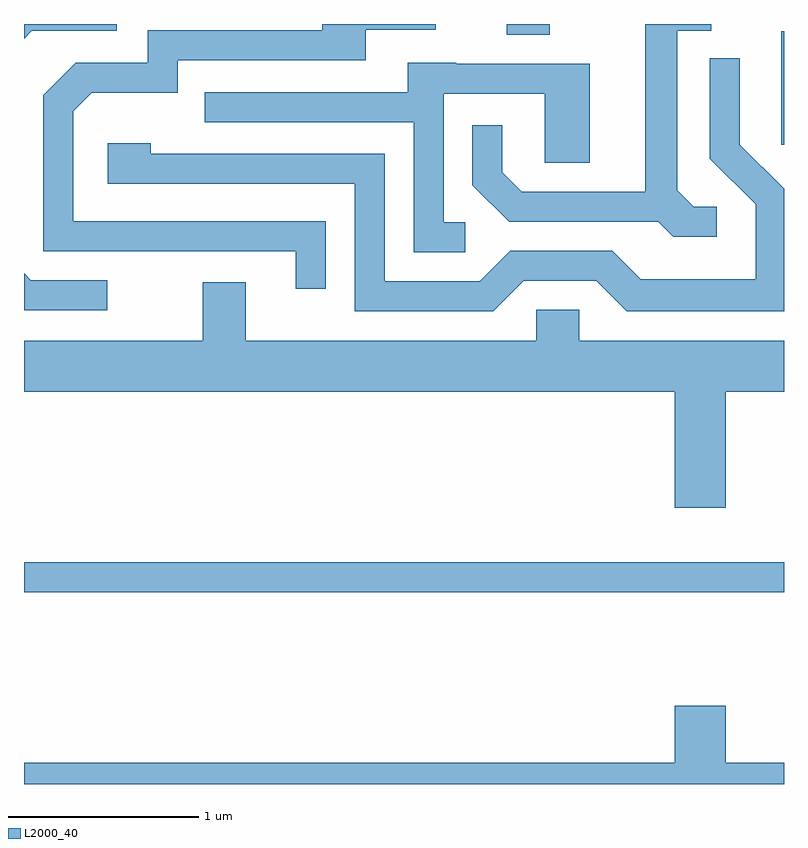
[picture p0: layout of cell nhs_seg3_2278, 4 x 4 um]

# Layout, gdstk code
import gdstk
lib = gdstk.Library(unit=1e-6, precision=1e-09)
def R(c, l, rs):  # rectangles x0, y0, x1, y1
    for r in rs: c.add(gdstk.rectangle(r[:2], r[2:], *l))
def P(c, l, *ps):  # polygons
    for p in ps: c.add(gdstk.Polygon(p, *l))
L2000_40 = (2000, 40)

nhs_seg3_2278 = lib.new_cell('nhs_seg3_2278')
R(nhs_seg3_2278, L2000_40, [(251.611,1184.901,255.611,1185.059), (255.596,1187.256,255.611,1187.854), (254.151,1187.836,254.379,1187.892)])
P(nhs_seg3_2278, L2000_40, [(253.199,1186.854),(251.869,1186.854),(251.869,1187.434),(251.967,1187.531),(252.419,1187.531),(252.419,1187.701),(253.409,1187.701),(253.409,1187.861),(253.778,1187.861),(253.778,1187.892),(253.181,1187.892),(253.181,1187.859),(252.261,1187.859),(252.261,1187.689),(251.884,1187.689),(251.711,1187.517),(251.711,1186.696),(253.041,1186.696),(253.041,1186.498),(253.199,1186.498)],
  [(251.652,1187.856),(252.098,1187.856),(252.098,1187.892),(251.611,1187.892),(251.611,1187.815)],
  [(255.258,1186.929),(255.137,1186.929),(255.049,1187.017),(255.049,1187.856),(255.228,1187.856),(255.228,1187.892),(254.881,1187.892),(254.881,1187.009),(254.232,1187.009),(254.129,1187.112),(254.129,1187.358),(253.971,1187.358),(253.971,1187.044),(254.164,1186.851),(254.949,1186.851),(255.029,1186.771),(255.258,1186.771)],
  [(254.242,1186.541),(254.624,1186.541),(254.784,1186.381),(255.611,1186.381),(255.611,1187.025),(255.379,1187.257),(255.379,1187.713),(255.221,1187.713),(255.221,1187.184),(255.461,1186.944),(255.461,1186.549),(254.857,1186.549),(254.707,1186.699),(254.169,1186.699),(254.009,1186.539),(253.509,1186.539),(253.509,1187.209),(252.279,1187.209),(252.279,1187.264),(252.051,1187.264),(252.051,1187.051),(253.351,1187.051),(253.351,1186.381),(254.082,1186.381)],
  [(253.933,1186.849),(253.819,1186.849),(253.819,1187.526),(254.351,1187.526),(254.351,1187.161),(254.589,1187.161),(254.589,1187.684),(253.885,1187.684),(253.885,1187.689),(253.631,1187.689),(253.631,1187.534),(252.563,1187.534),(252.563,1187.376),(253.661,1187.376),(253.661,1186.691),(253.933,1186.691)],
  [(252.048,1186.544),(251.647,1186.544),(251.611,1186.58),(251.611,1186.386),(252.048,1186.386)],
  [(255.304,1185.956),(255.611,1185.956),(255.611,1186.224),(254.534,1186.224),(254.534,1186.389),(254.306,1186.389),(254.306,1186.224),(252.779,1186.224),(252.779,1186.534),(252.551,1186.534),(252.551,1186.224),(251.611,1186.224),(251.611,1185.956),(255.036,1185.956),(255.036,1185.346),(255.304,1185.346)],
  [(251.611,1183.892),(255.611,1183.892),(255.611,1184.004),(255.304,1184.004),(255.304,1184.304),(255.036,1184.304),(255.036,1184.004),(251.611,1184.004)])

lib.write_gds('nhs_seg3_2278.gds')
